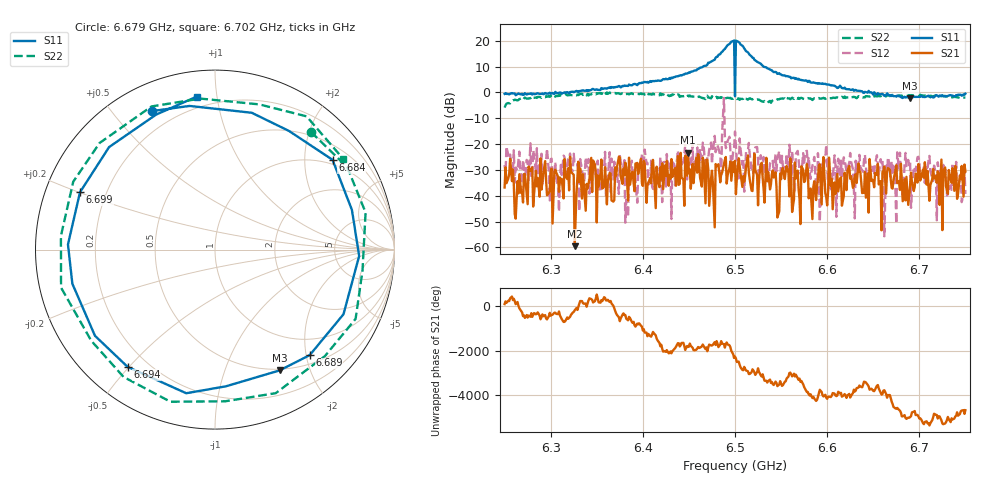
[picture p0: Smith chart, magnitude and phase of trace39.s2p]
# Hz S RI R 50
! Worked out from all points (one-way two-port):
!   401 points, 6.25 GHz to 6.75 GHz, reference 50 ohm
!   highest |S21| = -23.39 dB at 6.449 GHz (marker M1); lowest = -59.5 dB at 6.326 GHz (marker M2)
!   lowest |S11| = -2.3 dB at 6.69 GHz (marker M3), VSWR 7.45, Z = 24.2 - j78 ohm
!   |S11| at or under -10 dB: nowhere
!   |S22| runs from -5.9 to 0.1 dB; largest |S21 - S12| = 0.81
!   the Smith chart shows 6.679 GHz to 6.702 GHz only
!   S11 on the Smith chart (normalised r, x): 6.679 GHz: 0.12, +0.64; 6.684 GHz: 0.87, +2.71; 6.689 GHz: 0.66, -2.07; 6.694 GHz: 0.13, -0.50; 6.699 GHz: 0.10, +0.20; 6.702 GHz: 0.14, +0.88
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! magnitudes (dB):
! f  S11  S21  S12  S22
! 6.25 GHz  -0.6  -36.8  -28.1  -5.9
! 6.309 GHz  -0.2  -38.4  -46.1  -1.0
! 6.326 GHz  0.2  -59.5  -27.9  -0.9
! 6.334 GHz  0.7  -41.1  -30.0  -0.5
! 6.378 GHz  2.5  -35.4  -31.7  -0.4
! 6.384 GHz  2.5  -41.9  -48.3  -0.6
! 6.388 GHz  2.7  -31.4  -26.4  -0.3
! 6.418 GHz  4.5  -36.7  -34.8  -1.1
! 6.449 GHz  7.5  -23.4  -28.0  -1.2
! 6.475 GHz  12.1  -30.3  -27.7  -1.5
! 6.481 GHz  13.8  -28.4  -20.5  -2.3
! 6.5 GHz  -1.5  -26.5  -15.2  -2.2
! 6.584 GHz  3.8  -49.0  -28.3  -3.0
! 6.668 GHz  -1.2  -29.8  -28.7  -1.5
! 6.679 GHz  -1.4  -37.8  -23.3  -1.5
! 6.684 GHz  -1.7  -33.6  -28.3  -1.2
! 6.689 GHz  -2.0  -40.0  -28.2  -1.1
! 6.69 GHz  -2.3  -36.2  -26.8  -1.2
! 6.694 GHz  -1.8  -38.2  -28.8  -1.3
! 6.699 GHz  -1.8  -27.7  -24.9  -1.5
! 6.702 GHz  -1.3  -32.9  -31.4  -1.2
! 6.75 GHz  -0.5  -30.6  -39.3  -2.0
